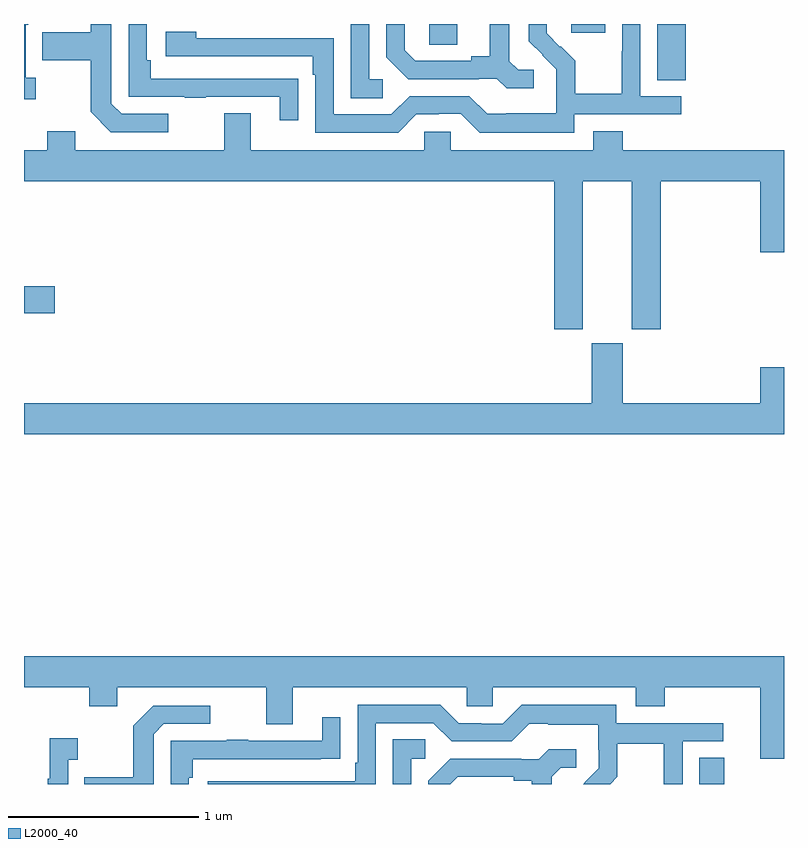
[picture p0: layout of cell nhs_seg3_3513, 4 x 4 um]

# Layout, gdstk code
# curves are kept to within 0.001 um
import gdstk
lib = gdstk.Library(unit=1e-6, precision=1e-09)
def R(c, l, rs):  # rectangles x0, y0, x1, y1
    for r in rs: c.add(gdstk.rectangle(r[:2], r[2:], *l))
def P(c, l, *ps):  # polygons
    for p in ps: c.add(gdstk.Polygon(p, *l))
L2000_40 = (2000, 40)

nhs_seg3_3513 = lib.new_cell('nhs_seg3_3513')
R(nhs_seg3_3513, L2000_40, [(296.555,708.4,296.686,708.539), (293,710.878,293.161,711.02), (296.333,712.105,296.483,712.4), (295.134,712.291,295.279,712.4), (295.88,712.353,296.059,712.4)])
P(nhs_seg3_3513, L2000_40, [(295.896,711.924),(296.458,711.924),(296.458,712.02),(296.244,712.02),(296.244,712.4),(296.148,712.4),(296.148,712.256),(296.146,712.256),(296.146,712.033),(295.901,712.033),(295.901,712.207),(295.824,712.284),(295.821,712.281),(295.751,712.352),(295.751,712.4),(295.656,712.4),(295.656,712.31),(295.802,712.162),(295.802,712.065),(295.8,712.065),(295.8,711.931),(295.537,711.931),(295.537,711.927),(295.437,711.927),(295.344,712.02),(295.029,712.02),(294.933,711.924),(294.63,711.924),(294.63,712.326),(293.906,712.326),(293.906,712.36),(293.745,712.36),(293.745,712.23),(294.521,712.23),(294.521,712.133),(294.534,712.133),(294.534,711.828),(294.969,711.828),(295.065,711.924),(295.184,711.924),(295.184,711.927),(295.299,711.927),(295.399,711.827),(295.896,711.827)],
  [(293.758,711.927),(293.514,711.927),(293.46,711.981),(293.46,712.4),(293.352,712.4),(293.352,712.357),(293.095,712.357),(293.095,712.21),(293.352,712.21),(293.352,711.937),(293.457,711.831),(293.758,711.831)],
  [(295.684,712.158),(295.602,712.158),(295.555,712.205),(295.555,712.4),(295.451,712.4),(295.451,712.229),(295.355,712.229),(295.355,712.206),(295.06,712.206),(295.003,712.263),(295.003,712.4),(294.906,712.4),(294.906,712.226),(295.022,712.11),(295.394,712.11),(295.394,712.113),(295.488,712.113),(295.54,712.061),(295.684,712.061)],
  [(294.889,712.11),(294.816,712.11),(294.816,712.4),(294.72,712.4),(294.72,712.009),(294.889,712.009)],
  [(293.062,712.118),(293.01,712.118),(293.01,712.397),(293.023,712.397),(293.023,712.4),(293,712.4),(293,712.005),(293.062,712.005)],
  [(294.443,712.112),(294.341,712.112),(294.341,712.113),(293.666,712.113),(293.666,712.21),(293.646,712.21),(293.646,712.4),(293.55,712.4),(293.55,712.017),(293.845,712.017),(293.845,712.012),(293.957,712.012),(293.957,712.017),(294.347,712.017),(294.347,711.894),(294.443,711.894)],
  [(295.942,711.572),(296.198,711.572),(296.198,710.793),(296.351,710.793),(296.351,711.572),(296.876,711.572),(296.876,711.198),(297,711.198),(297,711.736),(296.15,711.736),(296.15,711.835),(295.997,711.835),(295.997,711.736),(295.245,711.736),(295.245,711.834),(295.107,711.834),(295.107,711.736),(294.193,711.736),(294.193,711.931),(294.053,711.931),(294.053,711.736),(293.269,711.736),(293.269,711.835),(293.122,711.835),(293.122,711.736),(293,711.736),(293,711.572),(295.79,711.572),(295.79,710.793),(295.942,710.793)],
  [(297,710.593),(296.876,710.593),(296.876,710.404),(296.152,710.404),(296.152,710.721),(295.988,710.721),(295.988,710.404),(293,710.404),(293,710.24),(297,710.24)],
  [(297,709.072),(293,709.072),(293,708.908),(293.344,708.908),(293.344,708.809),(293.491,708.809),(293.491,708.908),(294.275,708.908),(294.275,708.714),(294.415,708.714),(294.415,708.908),(295.329,708.908),(295.329,708.81),(295.467,708.81),(295.467,708.908),(296.219,708.908),(296.219,708.809),(296.372,708.809),(296.372,708.908),(296.876,708.908),(296.876,708.534),(297,708.534)],
  [(294.852,708.72),(295.155,708.72),(295.251,708.624),(295.566,708.624),(295.659,708.717),(295.759,708.717),(295.759,708.713),(296.022,708.713),(296.022,708.579),(296.024,708.579),(296.024,708.482),(295.95,708.408),(295.951,708.407),(295.944,708.4),(296.086,708.4),(296.123,708.437),(296.123,708.612),(296.368,708.612),(296.368,708.4),(296.466,708.4),(296.466,708.624),(296.68,708.624),(296.68,708.72),(296.118,708.72),(296.118,708.817),(295.621,708.817),(295.521,708.717),(295.406,708.717),(295.406,708.72),(295.287,708.72),(295.191,708.816),(294.756,708.816),(294.756,708.511),(294.743,708.511),(294.743,708.414),(293.967,708.414),(293.967,708.4),(294.852,708.4)],
  [(293.682,708.663),(293.736,708.717),(293.98,708.717),(293.98,708.813),(293.679,708.813),(293.574,708.707),(293.574,708.435),(293.317,708.435),(293.317,708.4),(293.682,708.4)],
  [(293.868,708.434),(293.888,708.434),(293.888,708.531),(294.563,708.531),(294.563,708.532),(294.665,708.532),(294.665,708.751),(294.569,708.751),(294.569,708.627),(294.179,708.627),(294.179,708.632),(294.067,708.632),(294.067,708.627),(293.772,708.627),(293.772,708.4),(293.868,708.4)],
  [(293.232,708.527),(293.284,708.527),(293.284,708.64),(293.135,708.64),(293.135,708.427),(293.124,708.427),(293.124,708.4),(293.232,708.4)],
  [(295.038,708.534),(295.111,708.534),(295.111,708.635),(294.942,708.635),(294.942,708.4),(295.038,708.4)],
  [(295.282,708.438),(295.577,708.438),(295.577,708.416),(295.673,708.416),(295.673,708.4),(295.777,708.4),(295.777,708.439),(295.824,708.486),(295.906,708.486),(295.906,708.583),(295.762,708.583),(295.71,708.531),(295.616,708.531),(295.616,708.534),(295.244,708.534),(295.128,708.418),(295.128,708.4),(295.244,708.4)])

lib.write_gds('nhs_seg3_3513.gds')
